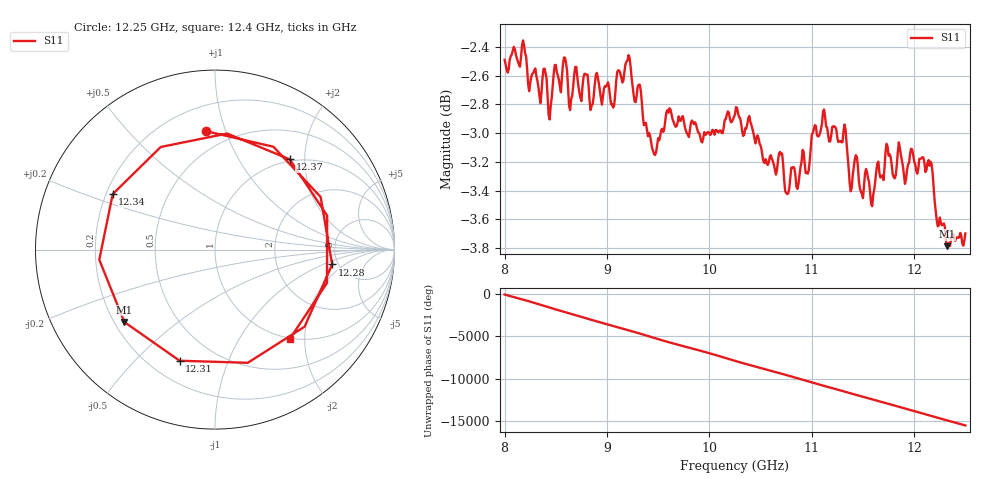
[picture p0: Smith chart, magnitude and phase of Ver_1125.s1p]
#  HZ  S  RI  R  50.00
! Rohde & Schwarz Vector Network Analyzer
! Rohde-Schwarz,ZNA43-4Port,1332450044101932,2.92
! Created: UTC 6/9/2026, 6:31:52 AM
! freq[Hz]  re:S11  im:S11
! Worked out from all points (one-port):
!   451 points, 8 GHz to 12.5 GHz, reference 50 ohm
!   lowest |S11| = -3.8 dB at 12.32 GHz (marker M1), VSWR 4.66, Z = 12 - j16.6 ohm
!   |S11| at or under -10 dB: nowhere
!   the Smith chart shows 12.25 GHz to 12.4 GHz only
!   S11 on the Smith chart (normalised r, x): 12.25 GHz: 0.37, +0.86; 12.28 GHz: 4.45, -1.30; 12.31 GHz: 0.32, -0.68; 12.34 GHz: 0.23, +0.24; 12.37 GHz: 0.97, +1.70; 12.4 GHz: 0.98, -1.69
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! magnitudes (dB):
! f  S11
! 8 GHz  -2.5
! 8.19 GHz  -2.4
! 8.44 GHz  -2.9
! 8.57 GHz  -2.5
! 8.85 GHz  -2.8
! 9.13 GHz  -2.6
! 9.21 GHz  -2.5
! 9.46 GHz  -3.1
! 9.6 GHz  -2.9
! 9.69 GHz  -2.9
! 10.25 GHz  -2.9
! 10.7 GHz  -3.1
! 10.76 GHz  -3.4
! 10.82 GHz  -3.2
! 10.96 GHz  -3.3
! 11.12 GHz  -2.8
! 11.32 GHz  -2.9
! 11.38 GHz  -3.4
! 11.94 GHz  -3.2
! 12.15 GHz  -3.2
! 12.25 GHz  -3.6
! 12.28 GHz  -3.6
! 12.31 GHz  -3.7
! 12.32 GHz  -3.8
! 12.34 GHz  -3.8
! 12.37 GHz  -3.7
! 12.4 GHz  -3.7
! 12.5 GHz  -3.7
